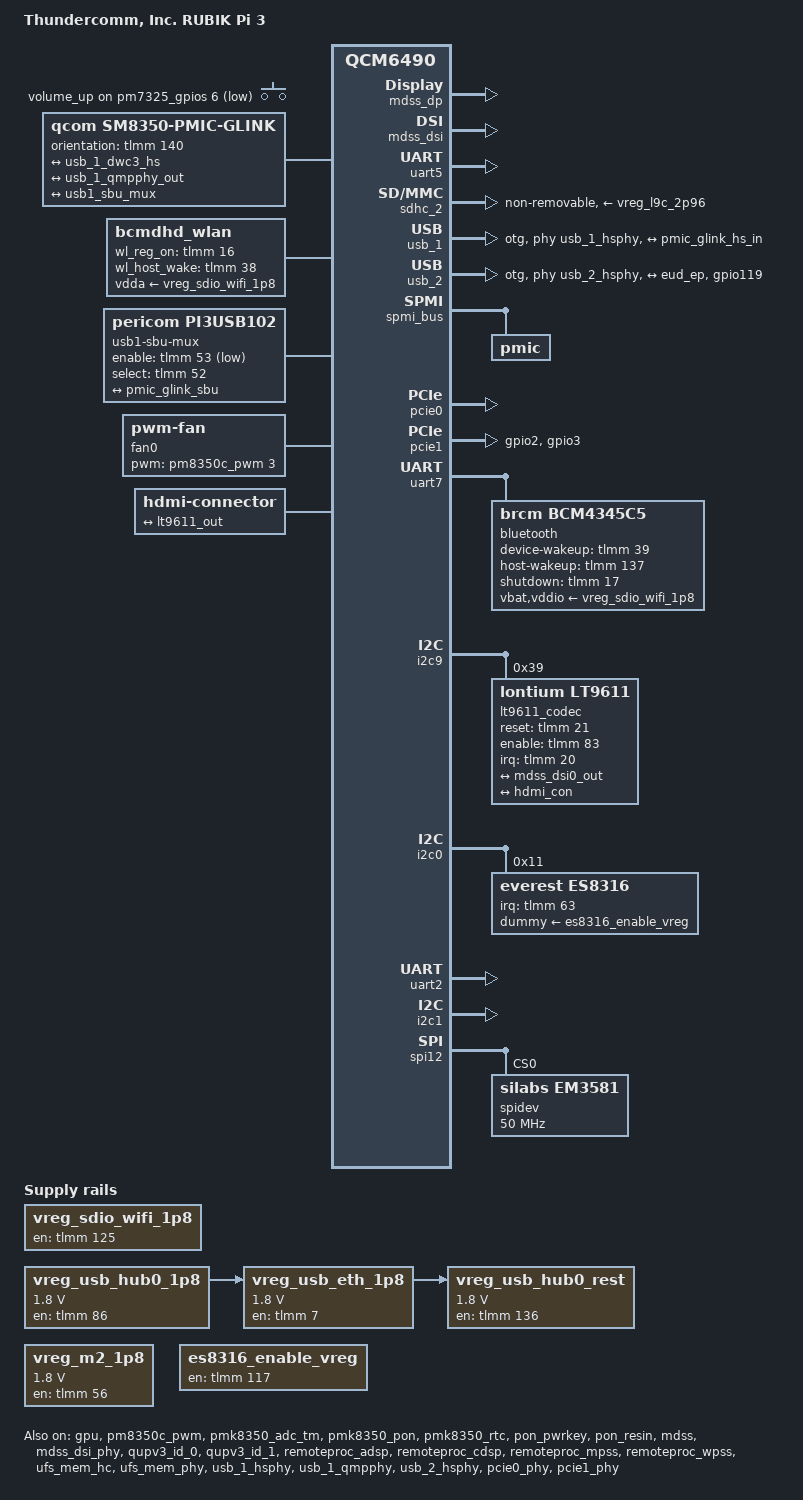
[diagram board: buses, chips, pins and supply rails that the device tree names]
// SPDX-License-Identifier: BSD-3-Clause
/*
 * Copyright (c) 2024, Thundercomm All rights reserved.
 */
#define PM7250B_SID 8
#define PM7250B_SID1 9

#include <dt-bindings/iio/qcom,spmi-adc7-pm7325.h>
#include <dt-bindings/iio/qcom,spmi-adc7-pmk8350.h>
#include <dt-bindings/input/linux-event-codes.h>
#include <dt-bindings/leds/common.h>
#include <dt-bindings/pinctrl/qcom,pmic-gpio.h>
#include <dt-bindings/regulator/qcom,rpmh-regulator.h>
#include "qcm6490.dtsi"
#include "pm7250b.dtsi"
#include "pm7325.dtsi"
#include "pm8350c.dtsi"
#include "pmk8350.dtsi"
#include "qcm6490-addons.dtsi"

/ {
	model = "Thundercomm, Inc. RUBIK Pi 3";
	compatible = "qcom,qcm6490-rb3gen2", "qcom,qcm6490";

	qcom,msm-id = <497 0x10000>, <498 0x10000>, <475 0x10000>, <515 0x10000>;
	qcom,board-id =<32 0xb>, <32 0x60b>;

	aliases {
		serial0 = &uart5;
		serial2 = &uart2;
		serial3 = &uart3;
		serial6 = &uart6;
		serial7 = &uart7;
		serial8 = &uart8;
		serial12 = &uart12;
	};

	chosen {
		stdout-path = "serial0:115200n8";
	};

	gpio-keys {
		compatible = "gpio-keys";
		label = "gpio-keys";

		pinctrl-0 = <&key_vol_up_default>;
		pinctrl-names = "default";

		key-volume-up {
			label = "volume_up";
			gpios = <&pm7325_gpios 6 GPIO_ACTIVE_LOW>;
			linux,input-type = <1>;
			linux,code = <KEY_VOLUMEUP>;
			wakeup-source;
			debounce-interval = <15>;
			linux,can-disable;
		};
	};

	pmic-glink {
		compatible = "qcom,sm8350-pmic-glink", "qcom,pmic-glink";
		#address-cells = <1>;
		#size-cells = <0>;
		orientation-gpios = <&tlmm 140 GPIO_ACTIVE_HIGH>;
		qcom,thermal-mitigation = <3000000 1500000 1000000 500000>;

		connector@0 {
			compatible = "usb-c-connector";
			reg = <0>;
			power-role = "dual";
			data-role = "dual";

			ports {
				#address-cells = <1>;
				#size-cells = <0>;

				port@0 {
					reg = <0>;

					pmic_glink_hs_in: endpoint {
						remote-endpoint = <&usb_1_dwc3_hs>;
					};
				};

				port@1 {
					reg = <1>;

					pmic_glink_ss_in: endpoint {
						remote-endpoint = <&usb_1_qmpphy_out>;
					};
				};

				port@2 {
					reg = <2>;

					pmic_glink_sbu: endpoint {
						remote-endpoint = <&usb1_sbu_mux>;
					};
				};
			};
		};
	};

	thermal-zones {
		quiet-thermal {
			polling-delay-passive = <0>;
			polling-delay = <0>;
			thermal-sensors = <&pmk8350_adc_tm 1>;

			trips {
				active-config0 {
					temperature = <125000>;
					hysteresis = <1000>;
					type = "passive";
				};
			};
		};

		sdm-skin-thermal {
			polling-delay-passive = <0>;
			polling-delay = <0>;
			thermal-sensors = <&pmk8350_adc_tm 3>;

			trips {
				active-config0 {
					temperature = <125000>;
					hysteresis = <1000>;
					type = "passive";
				};
			};
		};

		xo-thermal {
			polling-delay-passive = <0>;
			polling-delay = <0>;
			thermal-sensors = <&pmk8350_adc_tm 0>;

			trips {
				active-config0 {
					temperature = <125000>;
					hysteresis = <1000>;
					type = "passive";
				};
			};
		};
	};
};

&apps_rsc {
	regulators-0 {
		compatible = "qcom,pm7325-rpmh-regulators";
		qcom,pmic-id = "b";

		vreg_s1b_1p872: smps1 {
			regulator-min-microvolt = <1840000>;
			regulator-max-microvolt = <2040000>;
		};

		vreg_s7b_0p972: smps7 {
			regulator-min-microvolt = <535000>;
			regulator-max-microvolt = <1120000>;
		};

		vreg_s8b_1p272: smps8 {
			regulator-min-microvolt = <1200000>;
			regulator-max-microvolt = <1500000>;
		};

		vreg_l1b_0p912: ldo1 {
			regulator-min-microvolt = <912000>;
			regulator-max-microvolt = <925000>;
			regulator-initial-mode = <RPMH_REGULATOR_MODE_HPM>;
		};

		vreg_l2b_3p072: ldo2 {
			regulator-min-microvolt = <2700000>;
			regulator-max-microvolt = <3544000>;
			regulator-initial-mode = <RPMH_REGULATOR_MODE_HPM>;
		};

		vreg_l3b_0p504: ldo3 {
			regulator-min-microvolt = <312000>;
			regulator-max-microvolt = <650000>;
			regulator-initial-mode = <RPMH_REGULATOR_MODE_HPM>;
		};

		vreg_l6b_1p2: ldo6 {
			regulator-min-microvolt = <1200000>;
			regulator-max-microvolt = <1260000>;
			regulator-initial-mode = <RPMH_REGULATOR_MODE_HPM>;
		};

		vreg_l7b_2p952: ldo7 {
			regulator-min-microvolt = <2400000>;
			regulator-max-microvolt = <3544000>;
			regulator-initial-mode = <RPMH_REGULATOR_MODE_HPM>;
		};

		vreg_l8b_0p904: ldo8 {
			regulator-min-microvolt = <870000>;
			regulator-max-microvolt = <970000>;
			regulator-initial-mode = <RPMH_REGULATOR_MODE_HPM>;
		};

		vreg_l9b_1p2: ldo9 {
			regulator-min-microvolt = <1200000>;
			regulator-max-microvolt = <1304000>;
			regulator-initial-mode = <RPMH_REGULATOR_MODE_HPM>;
		};

		vreg_l11b_1p504: ldo11 {
			regulator-min-microvolt = <1776000>;
			regulator-max-microvolt = <2000000>;
			regulator-initial-mode = <RPMH_REGULATOR_MODE_HPM>;
		};

		vreg_l12b_0p751: ldo12 {
			regulator-min-microvolt = <751000>;
			regulator-max-microvolt = <824000>;
			regulator-initial-mode = <RPMH_REGULATOR_MODE_HPM>;
		};

		vreg_l13b_0p53: ldo13 {
			regulator-min-microvolt = <530000>;
			regulator-max-microvolt = <824000>;
			regulator-initial-mode = <RPMH_REGULATOR_MODE_HPM>;
		};

		vreg_l14b_1p08: ldo14 {
			regulator-min-microvolt = <1200000>;
			regulator-max-microvolt = <1304000>;
			regulator-initial-mode = <RPMH_REGULATOR_MODE_HPM>;
		};

		vreg_l15b_0p765: ldo15 {
			regulator-min-microvolt = <765000>;
			regulator-max-microvolt = <1020000>;
			regulator-initial-mode = <RPMH_REGULATOR_MODE_HPM>;
		};

		vreg_l16b_1p1: ldo16 {
			regulator-min-microvolt = <1200000>;
			regulator-max-microvolt = <1300000>;
			regulator-initial-mode = <RPMH_REGULATOR_MODE_HPM>;
		};

		vreg_l17b_1p7: ldo17 {
			regulator-min-microvolt = <1800000>;
			regulator-max-microvolt = <1900000>;
			regulator-initial-mode = <RPMH_REGULATOR_MODE_HPM>;
		};

		vreg_l18b_1p8: ldo18 {
			regulator-min-microvolt = <1800000>;
			regulator-max-microvolt = <2000000>;
			regulator-initial-mode = <RPMH_REGULATOR_MODE_HPM>;
		};

		vreg_l19b_1p8: ldo19 {
			regulator-min-microvolt = <1800000>;
			regulator-max-microvolt = <2000000>;
			regulator-initial-mode = <RPMH_REGULATOR_MODE_HPM>;
		};
	};

	regulators-1 {
		compatible = "qcom,pm8350c-rpmh-regulators";
		qcom,pmic-id = "c";

		vreg_s1c_2p19: smps1 {
			regulator-min-microvolt = <2200000>;
			regulator-max-microvolt = <2208000>;
		};

		vreg_s9c_1p084: smps9 {
			regulator-min-microvolt = <1010000>;
			regulator-max-microvolt = <1170000>;
		};

		vreg_l1c_1p8: ldo1 {
			regulator-min-microvolt = <1800000>;
			regulator-max-microvolt = <1980000>;
			regulator-initial-mode = <RPMH_REGULATOR_MODE_HPM>;
		};

		vreg_l2c_1p62: ldo2 {
			regulator-min-microvolt = <1620000>;
			regulator-max-microvolt = <1980000>;
			regulator-initial-mode = <RPMH_REGULATOR_MODE_HPM>;
		};

		vreg_l3c_2p8: ldo3 {
			regulator-min-microvolt = <2800000>;
			regulator-max-microvolt = <3540000>;
			regulator-initial-mode = <RPMH_REGULATOR_MODE_HPM>;
		};

		vreg_l4c_1p62: ldo4 {
			regulator-min-microvolt = <1620000>;
			regulator-max-microvolt = <3300000>;
			regulator-initial-mode = <RPMH_REGULATOR_MODE_HPM>;
		};

		vreg_l5c_1p62: ldo5 {
			regulator-min-microvolt = <1620000>;
			regulator-max-microvolt = <3300000>;
			regulator-initial-mode = <RPMH_REGULATOR_MODE_HPM>;
		};

		vreg_l6c_2p96: ldo6 {
			regulator-min-microvolt = <1800000>;
			regulator-max-microvolt = <1800000>;
			regulator-initial-mode = <RPMH_REGULATOR_MODE_HPM>;
		};

		vreg_l7c_3p0: ldo7 {
			regulator-min-microvolt = <3000000>;
			regulator-max-microvolt = <3544000>;
			regulator-initial-mode = <RPMH_REGULATOR_MODE_HPM>;
		};

		vreg_l8c_1p62: ldo8 {
			regulator-min-microvolt = <1800000>;
			regulator-max-microvolt = <2000000>;
			regulator-initial-mode = <RPMH_REGULATOR_MODE_HPM>;
		};

		vreg_l9c_2p96: ldo9 {
			regulator-min-microvolt = <2700000>;
			regulator-max-microvolt = <3544000>;
			regulator-initial-mode = <RPMH_REGULATOR_MODE_HPM>;
		};

		vreg_l10c_0p88: ldo10 {
			regulator-min-microvolt = <880000>;
			regulator-max-microvolt = <1050000>;
			regulator-initial-mode = <RPMH_REGULATOR_MODE_HPM>;
		};

		vreg_l11c_2p8: ldo11 {
			regulator-min-microvolt = <2800000>;
			regulator-max-microvolt = <3544000>;
			regulator-initial-mode = <RPMH_REGULATOR_MODE_HPM>;
		};

		vreg_l12c_1p65: ldo12 {
			regulator-min-microvolt = <1800000>;
			regulator-max-microvolt = <2000000>;
			regulator-initial-mode = <RPMH_REGULATOR_MODE_HPM>;
		};

		vreg_l13c_2p7: ldo13 {
			regulator-min-microvolt = <2700000>;
			regulator-max-microvolt = <3544000>;
			regulator-initial-mode = <RPMH_REGULATOR_MODE_HPM>;
		};

		vreg_bob_3p296: bob {
			regulator-min-microvolt = <3008000>;
			regulator-max-microvolt = <3960000>;
		};
	};
};

&gcc {
	protected-clocks = <GCC_QSPI_CNOC_PERIPH_AHB_CLK>, <GCC_QSPI_CORE_CLK>,
			<GCC_QSPI_CORE_CLK_SRC>, <GCC_CFG_NOC_LPASS_CLK>,
			<GCC_MSS_GPLL0_MAIN_DIV_CLK_SRC>, <GCC_MSS_CFG_AHB_CLK>,
			<GCC_MSS_OFFLINE_AXI_CLK>, <GCC_MSS_SNOC_AXI_CLK>,
			<GCC_MSS_Q6_MEMNOC_AXI_CLK>, <GCC_MSS_Q6SS_BOOT_CLK_SRC>,
			<GCC_SEC_CTRL_CLK_SRC>, <GCC_WPSS_AHB_CLK>,
			<GCC_WPSS_AHB_BDG_MST_CLK>, <GCC_WPSS_RSCP_CLK>;
};

&gpu {
	status = "okay";
};

&gpu_zap_shader {
	firmware-name = "qcom/qcs6490/a660_zap.mbn";
};

&ipa {
	status = "disabled";
};

&lpasscc {
	status = "disabled";
};

&pm7325_gpios {
	key_vol_up_default: key-vol-up-state {
		pins = "gpio6";
		function = "normal";
		input-enable;
		bias-pull-up;
		power-source = <0>;
		qcom,drive-strength = <3>;
	};
};

&pm7325_temp_alarm {
	io-channels = <&pmk8350_vadc PM7325_ADC7_DIE_TEMP>;
	io-channel-names = "thermal";
};

&pm8350c_pwm {
	#address-cells = <1>;
	#size-cells = <0>;
	status = "okay";

	led@1 {
		reg = <1>;
		color = <LED_COLOR_ID_RED>;
		label = "red";
	};

	led@2 {
		reg = <2>;
		color = <LED_COLOR_ID_GREEN>;
		label = "green";
	};

	led@3 {
		reg = <3>;
		color = <LED_COLOR_ID_BLUE>;
		label = "blue";
	};
};

&pmk8350_adc_tm {
	status = "okay";

	xo-therm@0 {
		reg = <0>;
		io-channels = <&pmk8350_vadc PMK8350_ADC7_AMUX_THM1_100K_PU>;
		qcom,ratiometric;
		qcom,hw-settle-time-us = <200>;
	};

	quiet-therm@1 {
		reg = <1>;
		io-channels = <&pmk8350_vadc PM7325_ADC7_AMUX_THM1_100K_PU>;
		qcom,ratiometric;
		qcom,hw-settle-time-us = <200>;
	};

	sdm-skin-therm@3 {
		reg = <3>;
		io-channels = <&pmk8350_vadc PM7325_ADC7_AMUX_THM3_100K_PU>;
		qcom,ratiometric;
		qcom,hw-settle-time-us = <200>;
	};
};

&pmk8350_pon {
	status = "okay";
};

&pmk8350_rtc {
	status = "okay";
	allow-set-time;
};

&pmk8350_vadc {
	channel@44 {
		reg = <PMK8350_ADC7_AMUX_THM1_100K_PU>;
		label = "xo_therm";
		qcom,hw-settle-time = <200>;
		qcom,pre-scaling = <1 1>;
		qcom,ratiometric;
	};

	channel@103 {
		reg = <PM7325_ADC7_DIE_TEMP>;
		label = "pm7325_die_temp";
		qcom,pre-scaling = <1 1>;
	};

	channel@144 {
		reg = <PM7325_ADC7_AMUX_THM1_100K_PU>;
		qcom,ratiometric;
		qcom,hw-settle-time = <200>;
		qcom,pre-scaling = <1 1>;
		label = "pm7325_quiet_therm";
	};

	channel@146 {
		reg = <PM7325_ADC7_AMUX_THM3_100K_PU>;
		qcom,ratiometric;
		qcom,hw-settle-time = <200>;
		qcom,pre-scaling = <1 1>;
		label = "pm7325_sdm_skin_therm";
	};

	pmk8350-die-temp@3 {
		reg = <PMK8350_ADC7_DIE_TEMP>;
		label = "pmk8350_die_temp";
		qcom,pre-scaling = <1 1>;
	};
};

&pon_pwrkey {
	status = "okay";
};

&pon_resin {
	linux,code = <KEY_VOLUMEDOWN>;
	status = "okay";
};

&mdss {
	status = "okay";
};

&mdss_dp {
	status = "okay";
};

&mdss_dp_out {
	data-lanes = <0 1>;
	remote-endpoint = <&usb_1_qmpphy_dp_in>;
};

&mdss_dsi {
	vdda-supply = <&vreg_l6b_1p2>;
	status = "okay";
};

&mdss_dsi_phy {
	vdds-supply = <&vreg_l10c_0p88>;
	status = "okay";
};

&qup_uart5_rx {
	drive-strength = <2>;
	bias-pull-up;
};

&qup_uart5_tx {
	drive-strength = <2>;
	bias-disable;
};

&gpi_dma0 {
	status = "okay";
};

&gpi_dma1 {
	status = "okay";
};

&qupv3_id_0 {
	firmware-name = "qupv3fw.elf";
	status = "okay";
};

&qupv3_id_1 {
	firmware-name = "qupv3fw.elf";
	status = "okay";
};

&remoteproc_adsp {
	firmware-name = "qcom/qcs6490/Thundercomm/RubikPi3/adsp.mbn";
	status = "okay";
};

&remoteproc_cdsp {
	firmware-name = "qcom/qcs6490/cdsp.mbn";
	status = "okay";
};

&remoteproc_mpss {
	firmware-name = "qcom/qcs6490/modem.mbn";
	status = "okay";
};

&remoteproc_wpss {
	firmware-name = "qcom/qcs6490/wpss.mdt";
	status = "okay";
};

&uart5 {
	compatible = "qcom,geni-debug-uart";
	status = "okay";
};

&ufs_mem_hc {
	reset-gpios = <&tlmm 175 GPIO_ACTIVE_LOW>;
	vcc-supply = <&vreg_l7b_2p952>;
	vcc-max-microamp = <800000>;
	vccq-supply = <&vreg_l9b_1p2>;
	vccq-max-microamp = <900000>;
	vccq2-supply = <&vreg_l9b_1p2>;
	vccq2-max-microamp = <900000>;

	status = "okay";
};

&ufs_mem_phy {
	vdda-phy-supply = <&vreg_l10c_0p88>;
	vdda-pll-supply = <&vreg_l6b_1p2>;

	status = "okay";
};

&tlmm {
	wifi_reset_active: wifi_reset_active {
		pins = "gpio16";
		function = "gpio";
		drive-strength = <2>;
		output-high;
		bias-disable;
	};

	wifi_host_wake: wifi_host_wake {
		pins = "gpio38";
		function = "gpio";
		drive-strength = <2>;
		bias-disable;
	};

	wifi_power_on: wifi_power_on {
		pins = "gpio125";
		function = "gpio";
		drive-strength = <2>;
		bias-disable;
	};
};

/ {
	vreg_sdio_wifi_1p8: vreg_sdio_wifi_1p8 {
		compatible = "regulator-fixed";
		pinctrl-0 = <&wifi_reset_active>, <&wifi_host_wake>, <&wifi_power_on>;
		pinctrl-names = "default";
		regulator-name = "vreg_sdio_wifi_1p8";
		enable-active-high;
		gpio = <&tlmm 125 GPIO_ACTIVE_HIGH>;
		regulator-always-on;
		regulator-enable-ramp-delay = <50000>;
	};

	bcmdhd_wlan: bcmdhd_wlan {
		status = "okay";
		compatible = "linux,bcmdhd_wlan";
		gpio_wl_reg_on = <&tlmm 16 GPIO_ACTIVE_HIGH>;
		gpio_wl_host_wake = <&tlmm 38 GPIO_ACTIVE_HIGH>;
		vdda-supply = <&vreg_sdio_wifi_1p8>;
	};
};

&sdhc_2 {
	status = "okay";

	pinctrl-0 = <&sdc2_clk>, <&sdc2_cmd>, <&sdc2_data>;
	pinctrl-1 = <&sdc2_clk_sleep>, <&sdc2_cmd_sleep>, <&sdc2_data_sleep>;

	vmmc-supply = <&vreg_l9c_2p96>;
	vqmmc-supply = <&vreg_l6c_2p96>;

	non-removable;
	keep-power-in-suspend;

	/delete-property/ cd-gpios;
};

/delete-node/ &usb_1_dwc3;

&usb_1 {

	reg = <0x0 0x0a600000 0x0 0x200000>;

	interrupts-extended = <&intc GIC_SPI 133 IRQ_TYPE_LEVEL_HIGH>,
			      <&intc GIC_SPI 131 IRQ_TYPE_LEVEL_HIGH>,
			      <&pdc 14 IRQ_TYPE_LEVEL_HIGH>,
			      <&pdc 15 IRQ_TYPE_EDGE_BOTH>,
			      <&pdc 17 IRQ_TYPE_EDGE_BOTH>;
	interrupt-names = "dwc_usb3",
			  "hs_phy_irq",
			  "dp_hs_phy_irq",
			  "dm_hs_phy_irq",
			  "ss_phy_irq";

	iommus = <&apps_smmu 0xe0 0x0>;
	snps,dis_u2_susphy_quirk;
	snps,dis_enblslpm_quirk;
	phys = <&usb_1_hsphy>, <&usb_1_qmpphy QMP_USB43DP_USB3_PHY>;
	phy-names = "usb2-phy", "usb3-phy";
	maximum-speed = "super-speed";
	snps,dis-u2-entry-quirk;
	snps,dis-u1-entry-quirk;
	dr_mode = "otg";
	usb-role-switch;
	qcom,enable-rt;
	wakeup-source;

	status = "okay";

	ports {
		#address-cells = <1>;
		#size-cells = <0>;

		port@0 {
			reg = <0>;
			usb_1_dwc3_hs: endpoint {
			};
		};
	};
};

&usb_1_dwc3_hs {
	remote-endpoint = <&pmic_glink_hs_in>;
};

&usb_1_hsphy {
	vdda-pll-supply = <&vreg_l10c_0p88>;
	vdda18-supply = <&vreg_l1c_1p8>;
	vdda33-supply = <&vreg_l2b_3p072>;

	status = "okay";
};

&usb_1_qmpphy {
	vdda-phy-supply = <&vreg_l6b_1p2>;
	vdda-pll-supply = <&vreg_l1b_0p912>;

	orientation-switch;
	status = "okay";
};

&usb_1_qmpphy_out {
	remote-endpoint = <&pmic_glink_ss_in>;
};

&usb_1_qmpphy_dp_in {
	remote-endpoint = <&mdss_dp_out>;
};

&tlmm {
	usb1_sbu_default: usb1-sbu-state {
		oe-n-pins {
			pins = "gpio53";
			function = "gpio";
			bias-disable;
			drive-strength = <16>;
			output-high;
		};
		sel-pins {
			pins = "gpio52";
			function = "gpio";
			bias-disable;
			drive-strength = <16>;
		};
	};
};

/ {
	usb1-sbu-mux {
		compatible = "pericom,pi3usb102", "gpio-sbu-mux";
		enable-gpios = <&tlmm 53 GPIO_ACTIVE_LOW>;
		select-gpios = <&tlmm 52 GPIO_ACTIVE_HIGH>;
		pinctrl-names = "default";
		pinctrl-0 = <&usb1_sbu_default>;
		mode-switch;
		orientation-switch;
		port {
			usb1_sbu_mux: endpoint {
				remote-endpoint = <&pmic_glink_sbu>;
			};
		};
	};
};

&vreg_l7b_2p952 {
	/delete-property/regulator-min-microvolt;
	/delete-property/regulator-max-microvolt;
	regulator-allow-set-load;
	regulator-allowed-modes = <RPMH_REGULATOR_MODE_LPM RPMH_REGULATOR_MODE_HPM>;
};

&vreg_l9b_1p2 {
	/delete-property/regulator-min-microvolt;
	/delete-property/regulator-max-microvolt;
	regulator-allow-set-load;
	regulator-allowed-modes = <RPMH_REGULATOR_MODE_LPM RPMH_REGULATOR_MODE_HPM>;
};

/*     USB2 Related Start        */
/*==============================*/

&pm7325_gpios {
	usb2_vbus_det_default: usb2_vbus_det_state {
		pins = "gpio9";
		function = "normal";
		bias-pull-down;
		input-enable;
		power-source = <0>;
	};
};

&sdc2_clk {
	bias-disable;
	drive-strength = <16>;
};

&sdc2_cmd {
	bias-pull-up;
	drive-strength = <10>;
};

&sdc2_data {
	bias-pull-up;
	drive-strength = <10>;
};

&tlmm {
	usb2_1p8_vreg_default: usb2_1p8_vreg_default {
		pins = "gpio119";
		function = "gpio";
		drive-strength = <2>;
		bias-disable;
		output-high;
	};
};

/delete-node/ &usb_2_dwc3;

&usb_2 {
	pinctrl-0 = <&usb2_1p8_vreg_default>;
	pinctrl-names = "default";

	reg = <0x0 0x08c00000 0x0 0x100000>;

	interrupts-extended = <&intc GIC_SPI 242 IRQ_TYPE_LEVEL_HIGH>,
				<&intc GIC_SPI 240 IRQ_TYPE_LEVEL_HIGH>,
				<&pdc 12 IRQ_TYPE_LEVEL_HIGH>,
				<&pdc 13 IRQ_TYPE_EDGE_BOTH>;
	interrupt-names = "dwc_usb2",
			"hs_phy_irq",
			"dp_hs_phy_irq",
			"dm_hs_phy_irq";

	iommus = <&apps_smmu 0xa0 0x0>;
	snps,dis_u2_susphy_quirk;
	snps,dis_enblslpm_quirk;
	phys = <&usb_2_hsphy>;
	phy-names = "usb2-phy";
	maximum-speed = "high-speed";
	snps,dis-u2-entry-quirk;
	snps,dis-u1-entry-quirk;

	usb-role-switch;
	qcom,enable-rt;
	wakeup-source;
	dr_mode = "otg";
	role-switch-default-mode = "host";

	status = "okay";

	ports {
		#address-cells = <1>;
		#size-cells = <0>;

		port@0 {
			usb2_role_switch: endpoint {
				remote-endpoint = <&eud_ep>;
			};
		};
	};
};

&usb_2_hsphy {
	vdda-pll-supply = <&vreg_l10c_0p88>;
	vdda18-supply = <&vreg_l1c_1p8>;
	vdda33-supply = <&vreg_l2b_3p072>;

	status = "okay";
};

&spmi_bus {
	pmic@PM7250B_SID {
		pm7250b_bcl: bcl@1d00 {
			compatible = "qcom,bcl-v5";
			reg = <0x1d00>;
			interrupts = <PM7250B_SID 0x1d 0x0 IRQ_TYPE_EDGE_RISING>,
					<PM7250B_SID 0x1d 0x1 IRQ_TYPE_EDGE_RISING>,
					<PM7250B_SID 0x1d 0x2 IRQ_TYPE_EDGE_RISING>;
			interrupt-names = "bcl-lvl0",
						"bcl-lvl1",
						"bcl-lvl2";
			#thermal-sensor-cells = <1>;
		};
	};
};

&thermal_zones {
	pm7250b-ibat-lvl0 {
		polling-delay-passive = <0>;
		polling-delay = <0>;
		thermal-sensors = <&pm7250b_bcl 0>;

		trips {
			ibat_lvl0:ibat-lvl0 {
				temperature = <6000>;
				hysteresis = <200>;
				type = "passive";
			};
		};
	};

	pm7250b-ibat-lvl1 {
		polling-delay-passive = <0>;
		polling-delay = <0>;
		thermal-sensors = <&pm7250b_bcl 1>;

		trips {
			ibat_lvl1:ibat-lvl1 {
				temperature = <7500>;
				hysteresis = <200>;
				type = "passive";
			};
		};
	};

	pm7250b-bcl-lvl0 {
		polling-delay-passive = <100>;
		polling-delay = <0>;
		thermal-sensors = <&pm7250b_bcl 5>;

		trips {
			b_bcl_lvl0: b-bcl-lvl0 {
				temperature = <1>;
				hysteresis = <1>;
				type = "passive";
			};
		};

		cooling-maps {
			map0 {
				trip = <&b_bcl_lvl0>;
				cooling-device = <&CPU4_idle 100 100>;
			};

			map1 {
				trip = <&b_bcl_lvl0>;
				cooling-device = <&CPU5_idle 100 100>;
			};

			map2 {
				trip = <&b_bcl_lvl0>;
				cooling-device = <&CPU6_idle 100 100>;
			};

			map3 {
				trip = <&b_bcl_lvl0>;
				cooling-device = <&CPU7_idle 100 100>;
			};

			map4 {
				trip = <&b_bcl_lvl0>;
				cooling-device = <&cdsp_sw 2 2>;
			};

			map5 {
				trip = <&b_bcl_lvl0>;
				cooling-device = <&modem_pa 2 2>;
			};

			map6 {
				trip = <&b_bcl_lvl0>;
				cooling-device = <&modem_tj 1 1>;
			};
		};
	};

	pm7250b-bcl-lvl1 {
		polling-delay-passive = <100>;
		polling-delay = <0>;
		thermal-sensors = <&pm7250b_bcl 6>;

		trips {
			b_bcl_lvl1: b-bcl-lvl1 {
				temperature = <1>;
				hysteresis = <1>;
				type = "passive";
			};
		};

		cooling-maps {
			map0 {
				trip = <&b_bcl_lvl1>;
				cooling-device = <&msm_gpu 5 THERMAL_NO_LIMIT>;
			};

			map1 {
				trip = <&b_bcl_lvl1>;
				cooling-device = <&cdsp_sw 4 4>;
			};

			map2 {
				trip = <&b_bcl_lvl1>;
				cooling-device = <&modem_tj 3 3>;
			};
		};
	};

	pm7250b-bcl-lvl2 {
		polling-delay-passive = <100>;
		polling-delay = <0>;
		thermal-sensors = <&pm7250b_bcl 7>;

		trips {
			b_bcl_lvl2: b-bcl-lvl2 {
				temperature = <1>;
				hysteresis = <1>;
				type = "passive";
			};
		};

		cooling-maps {
			map0 {
				trip = <&b_bcl_lvl2>;
				cooling-device = <&cdsp_sw 5 5>;
			};
		};
	};
};

/ {
	vreg_usb_hub0_1p8: vreg_usb_hub0_1p8 {
		compatible = "regulator-fixed";
		regulator-name = "vreg_usb_hub0_1p8";
		gpio = <&tlmm 86 0>;
		regulator-min-microvolt = <1800000>;
		regulator-max-microvolt = <1800000>;
		enable-active-high;
		regulator-always-on;
		regulator-enable-ramp-delay = <50000>;
	};

	vreg_usb_eth_1p8: vreg_usb_eth_1p8 {
		compatible = "regulator-fixed";
		regulator-name = "vreg_usb_eth_1p8";
		gpio = <&tlmm 7 0>;
		vin-supply = <&vreg_usb_hub0_1p8>;
		regulator-min-microvolt = <1800000>;
		regulator-max-microvolt = <1800000>;
		enable-active-high;
		regulator-enable-ramp-delay = <50000>;
	};

	vreg_usb_hub0_rest: vreg_usb_hub0_rest {
		compatible = "regulator-fixed";
		regulator-name = "vreg_usb_hub0_rest";
		gpio = <&tlmm 136 0>;
		vin-supply = <&vreg_usb_eth_1p8>;
		regulator-min-microvolt = <1800000>;
		regulator-max-microvolt = <1800000>;
		enable-active-high;
		regulator-always-on;
		regulator-enable-ramp-delay = <50000>;
	};
};

&pcie0 {
	perst-gpios = <&tlmm 87 GPIO_ACTIVE_LOW>;
	pinctrl-0 = <&pcie0_reset_n>, <&pcie0_wake_n>, <&pcie0_clkreq_n>;
	pinctrl-names = "default";
	status = "okay";
	vdda-supply = <&vreg_usb_hub0_rest>;
};

&pcie0_phy {
	status = "okay";
	vdda-phy-supply = <&vreg_l10c_0p88>;
	vdda-pll-supply = <&vreg_l6b_1p2>;
};

&tlmm {
	pcie1_reset_n: pcie1-reset-n-state {
		pins = "gpio2";
		function = "gpio";
		drive-strength = <16>;
		output-low;
		bias-disable;
	};

	pcie1_wake_n: pcie1-wake-n-state {
		pins = "gpio3";
		function = "gpio";
		drive-strength = <2>;
		bias-pull-up;
	};
};

/ {
	vreg_m2_1p8: verg_m2_1p8 {
		compatible = "regulator-fixed";

		regulator-name = "vreg_m2_1p8";
		regulator-min-microvolt = <1800000>;
		regulator-max-microvolt = <1800000>;
		regulator-enable-ramp-delay = <50000>;

		gpio = <&tlmm 56 0>;
		enable-active-high;

		regulator-always-on;
		regulator-boot-on;
	};
};

&pcie1 {
	perst-gpios = <&tlmm 2 GPIO_ACTIVE_LOW>;

	pinctrl-0 = <&pcie1_reset_n>, <&pcie1_wake_n>, <&pcie1_clkreq_n>;
	pinctrl-names = "default";

	status = "okay";

	pcieport1: pcie@1 {
		device_type = "pci";
		reg = <0x0 0x0 0x0 0x0 0x0>;
		#address-cells = <5>;
		#size-cells = <0>;
		pcie1_bus1_dev0_fn0: pcie1_bus1_dev0_fn0 {
			reg = <0 0 0 0 0>;
		};
	};
};

&pcie1_phy {
	vdda-phy-supply = <&vreg_l10c_0p88>;
	vdda-pll-supply = <&vreg_l6b_1p2>;

	status = "okay";
};

&thermal_zones {
	cpu0-thermal {
		trips {
			cpu_tepid: cpu-tepid {
				temperature = <65000>;
				hysteresis = <5000>;
				type = "active";
			};

			cpu_warm: cpu-warm {
				temperature = <80000>;
				hysteresis = <5000>;
				type = "active";
			};

			cpu_hot: cpu-hot {
				temperature = <90000>;
				hysteresis = <5000>;
				type = "active";
			};
		};
	};

	gpuss0-thermal {
		trips {
			gpuss0_alert0: trip-point0 {
				temperature = <95000>;
				hysteresis = <5000>;
				type = "passive";
			};
		};
	};

	gpuss1-thermal {
		trips {
			gpuss1_alert0: trip-point0 {
				temperature = <95000>;
				hysteresis = <5000>;
				type = "passive";
			};
		};
	};

	nspss0-thermal {
		trips {
			nspss0_alert0: trip-point0 {
				temperature = <95000>;
				hysteresis = <5000>;
				type = "hot";
			};
		};
	};

	nspss1-thermal {
		trips {
			nspss1_alert0: trip-point0 {
				temperature = <95000>;
				hysteresis = <5000>;
				type = "hot";
			};
		};
	};
};

/ {
	fan0: pwm-fan {
		compatible = "pwm-fan";
		pwms = <&pm8350c_pwm 3 1000000>;
		pinctrl-names = "default";
		pinctrl-0 = <&fan_pwm_out_default>;
	};
};

&pm8350c_gpios {
	fan_pwm_out_default: fan_pwm_out_default {
		pins = "gpio8";
		function = "func1";
		power-source = <1>;
		drive-push-pull;
		output-high;
		qcom,drive-strength = <3>;
	};
};

&tlmm {
	qup_uart7_sleep_cts: qup-uart7-sleep-cts-state {
		pins = "gpio28";
		function = "gpio";
		/*
		 * Configure a bias-bus-hold on CTS to lower power
		 * usage when Bluetooth is turned off. Bus hold will
		 * maintain a low power state regardless of whether
		 * the Bluetooth module drives the pin in either
		 * direction or leaves the pin fully unpowered.
		 */
		bias-bus-hold;
	};

	qup_uart7_sleep_rts: qup-uart7-sleep-rts-state {
		pins = "gpio29";
		function = "gpio";
		/*
		 * Configure pull-down on RTS. As RTS is active low
		 * signal, pull it low to indicate the BT SoC that it
		 * can wakeup the system anytime from suspend state by
		 * pulling RX low (by sending wakeup bytes).
		 */
		bias-pull-down;
	};

	qup_uart7_sleep_rx: qup-uart7-sleep-rx-state {
		pins = "gpio31";
		function = "gpio";
		/*
		 * Configure a pull-up on RX. This is needed to avoid
		 * garbage data when the TX pin of the Bluetooth module
		 * is floating which may cause spurious wakeups.
		 */
		bias-pull-up;
	};

	qup_uart7_sleep_tx: qup-uart7-sleep-tx-state {
		pins = "gpio30";
		function = "gpio";
		/*
		 * Configure pull-up on TX when it isn't actively driven
		 * to prevent BT SoC from receiving garbage during sleep.
		 */
		bias-pull-up;
	};
};

&tlmm {
	bt_device_wake: bt_device_wake {
		pins = "gpio39";
		function = "gpio";
		drive-strength = <2>;
		bias-disable;
	};

	bt_host_wake: bt_host_wake {
		pins = "gpio137";
		function = "gpio";
		drive-strength = <2>;
		bias-disable;
	};

	bt_reset: bt_reset {
		pins = "gpio17";
		function = "gpio";
		drive-strength = <2>;
		bias-disable;
	};
};

&uart7 {
	status = "okay";
	/delete-property/interrupts;
	interrupts-extended = <&intc GIC_SPI 608 IRQ_TYPE_LEVEL_HIGH>,
				<&tlmm 31 IRQ_TYPE_EDGE_FALLING>;
	pinctrl-names = "default", "sleep";
	pinctrl-1 = <&qup_uart7_sleep_cts>, <&qup_uart7_sleep_rts>,
			<&qup_uart7_sleep_tx>, <&qup_uart7_sleep_rx>;

	bluetooth {
		compatible = "brcm,bcm4345c5";
		clocks = <&sleep_clk>;
		clock-names = "lpo";
		device-wakeup-gpios = <&tlmm 39 GPIO_ACTIVE_HIGH>;
		host-wakeup-gpios = <&tlmm 137 GPIO_ACTIVE_HIGH>;
		shutdown-gpios = <&tlmm 17 GPIO_ACTIVE_HIGH>;
		pinctrl-0 = <&bt_device_wake>, <&bt_host_wake>, <&bt_reset>;
		pinctrl-names = "default";
		vbat-supply = <&vreg_sdio_wifi_1p8>;
		vddio-supply = <&vreg_sdio_wifi_1p8>;
		max-speed = <3000000>;
	};
};

/ {
	hdmi-connector {
		compatible = "hdmi-connector";
		type = "a";
		port {
			hdmi_con: endpoint {
				remote-endpoint = <&lt9611_out>;
			};
		};
	};
};

&apps_rsc {
	regulators-0 {
		vreg_l6b_1p2: ldo6 {
			regulator-min-microvolt = <1140000>;
			regulator-max-microvolt = <1260000>;
			regulator-initial-mode = <RPMH_REGULATOR_MODE_HPM>;
		};
	};
	regulators-1 {
		vreg_l10c_0p88: ldo10 {
			regulator-min-microvolt = <880000>;
			regulator-max-microvolt = <1050000>;
			regulator-initial-mode = <RPMH_REGULATOR_MODE_HPM>;
		};
	};
};

&tlmm {
	lt9611_irq_pin: lt9611-irq-state {
		pins = "gpio20";
		function = "gpio";
		drive-strength = <2>;
		bias-disable;
	};

	lt9611_rst_pin: lt9611-rst-state {
		pins = "gpio21";
		function = "gpio";
		output-high;
		input-disable;
	};

	lt9611_enable_pin: lt9611-enable-pin {
		pins = "gpio83";
		function = "gpio";
		output-high;
		input-disable;
	};
};

&i2c9 {
	status = "okay";
	lt9611_codec: hdmi-bridge@39 {
		compatible = "lontium,lt9611";
		reg = <0x39>;
		interrupts-extended = <&tlmm 20 IRQ_TYPE_EDGE_FALLING>;
		reset-gpios = <&tlmm 21 GPIO_ACTIVE_HIGH>;
		enable-gpios = <&tlmm 83 GPIO_ACTIVE_HIGH>;

		pinctrl-names = "default";
		pinctrl-0 = <&lt9611_irq_pin &lt9611_rst_pin &lt9611_enable_pin>;
		#sound-dai-cells = <0>;

		mipi-digi-regs = <
			0x8300 0x00
			0x830a 0x00
			0x824f 0x80
			0x8250 0x14
			0x8303 0x40
			0x8302 0x0a
			0x8306 0x0a
		>;

		sleep-regs = <
			0x8102 0x48
			0x8123 0x80
			0x8130 0x00
			0x8011 0x0a
		>;

		lt,cts_n_normal;
		lt,fixed-mode;
		ports {
			#address-cells = <1>;
			#size-cells = <0>;
			port@0 {
				reg = <0>;
				lt9611_a: endpoint {
					remote-endpoint = <&mdss_dsi0_out>;
				};
			};
			port@2 {
				reg = <2>;
				lt9611_out: endpoint {
					remote-endpoint = <&hdmi_con>;
				};
			};
		};
	};
};

&mdss_dsi0_out {
	remote-endpoint = <&lt9611_a>;
	data-lanes = <0 1 2 3>;
};

&q6apmbedai {
	qcom,prmcc_clk = <&q6prmcc>;
};

&lpass_va_macro {
	status = "disabled";
};

&lpass_rx_macro {
	status = "disabled";
};

&lpass_tx_macro {
	status = "disabled";
};

&lpass_wsa_macro {
	status = "disabled";
};

&swr0 {
	status = "disabled";
};

&swr1 {
	status = "disabled";
};

&swr2 {
	status = "disabled";
};

&tlmm {
	mi2s0_data0_sleep: mi2s0-data0-sleep {
		pins = "gpio98";
		function = "gpio";
		drive-strength = <2>;
		bias-pull-down;
		input-enable;
	};

	mi2s0_data1_sleep: mi2s0-data1-sleep {
		pins = "gpio99";
		function = "gpio";
		drive-strength = <2>;
		bias-pull-down;
		input-enable;
	};

	mi2s0_sclk_sleep: mi2s0-sclk-sleep {
		pins = "gpio97";
		function = "gpio";
		drive-strength = <2>;
		bias-pull-down;
		input-enable;
	};

	mi2s0_ws_sleep: mi2s0-ws-sleep {
		pins = "gpio100";
		function = "gpio";
		drive-strength = <2>;
		bias-pull-down;
		input-enable;
	};

	mi2s0_mclk_sleep: mi2s0-mclk-sleep-state {
		pins = "gpio96";
		function = "gpio";
		drive-strength = <2>;
		bias-pull-down;
		input-enable;
	};

	es8316_power_on: es8316_power_on {
		pins = "gpio117";
		function = "gpio";
		drive-strength = <2>;
		bias-pull-down;
	};
};

&mi2s0_data0 {
	drive-strength = <8>;
	bias-disable;
};

&mi2s0_data1 {
	drive-strength = <8>;
	bias-disable;
};

&mi2s0_sclk {
	drive-strength = <8>;
	bias-disable;
	output-high;
};

&mi2s0_ws {
	drive-strength = <8>;
	bias-disable;
	output-high;
};

&mi2s0_mclk {
	drive-strength = <8>;
	bias-disable;
	output-high;
};

&soc {
	es8316_enable_vreg: es8316_enable_vreg {
		compatible = "regulator-fixed";
		regulator-name = "es8316_enable_vreg";
		pinctrl-names = "default";
		pinctrl-0 = <&es8316_power_on>;
		gpio = <&tlmm 117 GPIO_ACTIVE_HIGH>;
		enable-active-high;
		regulator-always-on;
	};
};

&i2c0 {
	status = "ok";
	es8316: es8316@11 {
		compatible = "everest,es8316";
		reg = <0x11>;
		clocks = <&q6prmcc LPASS_CLK_ID_MCLK_1 LPASS_CLK_ATTRIBUTE_COUPLE_NO>;
		clock-names = "mclk";
		#sound-dai-cells = <0>;
		dummy-supply = <&es8316_enable_vreg>;
		interrupts-extended = <&tlmm 63 IRQ_TYPE_EDGE_BOTH>;
		everest,jack-detect-inverted = <1>;
		init-regs;
		status = "ok";
	};
};

&lpass_tlmm {
	lpass_qua_mi2s_sclk: qua-mi2s-sclk-state {
		pins = "gpio0";
		function = "qua_mi2s_sclk";
		drive-strength = <8>;
		bias-disable;
		output-high;
	};

	lpass_qua_mi2s_sclk_sleep: qua-mi2s-sclk-sleep {
		pins = "gpio0";
		function = "qua_mi2s_sclk";
		drive-strength = <2>;
		bias-pull-down;
		input-enable;
	};

	lpass_qua_mi2s_ws: qua-mi2s-ws-state {
		pins = "gpio1";
		function = "qua_mi2s_ws";
		drive-strength = <8>;
		output-high;
	};

	lpass_qua_mi2s_ws_sleep: qua-mi2s-ws-sleep {
		pins = "gpio1";
		function = "qua_mi2s_ws";
		drive-strength = <2>;
		bias-pull-down;
		input-enable;
	};

	lpass_qua_mi2s_data0: qua-mi2s-data0-state {
		pins = "gpio2";
		function = "qua_mi2s_data";
		drive-strength = <8>;
		bias-disable;
	};

	lpass_qua_mi2s_data0_sleep: qua-mi2s-data0-sleep {
		pins = "gpio2";
		function = "qua_mi2s_data";
		drive-strength = <2>;
		bias-pull-down;
		input-enable;
	};

	lpass_qua_mi2s_data1: qua-mi2s-data1-state {
		pins = "gpio3";
		function = "qua_mi2s_data";
		drive-strength = <8>;
		bias-disable;
	};

	lpass_qua_mi2s_data1_sleep: qua-mi2s-data1-sleep {
		pins = "gpio3";
		function = "qua_mi2s_data";
		drive-strength = <2>;
		bias-pull-down;
		input-enable;
	};

	lpass_qua_mi2s_data2: qua-mi2s-data2-state {
		pins = "gpio4";
		function = "qua_mi2s_data";
		drive-strength = <8>;
		bias-disable;
	};

	lpass_qua_mi2s_data2_sleep: qua-mi2s-data2-sleep {
		pins = "gpio4";
		function = "qua_mi2s_data";
		drive-strength = <2>;
		bias-pull-down;
		input-enable;
	};
};
&msm_stub_codec {
	pinctrl-names = "default", "mi2s_aud_active", "mi2s_aud_sleep";
	pinctrl-0 = <>;
	pinctrl-1 = <>;
	pinctrl-2 = <>;
};

/ {
	sound: sound {
		compatible = "qcom,qcs6490-rubikpi3-sndcard";
		model = "qcs6490-rubikpi3-snd-card";

		#address-cells = <1>;
		#size-cells = <0>;

		pinctrl-names = "default", "stub_aif1_active", "stub_aif1_sleep";
		pinctrl-0 = <&mi2s0_data0_sleep>, <&mi2s0_data1_sleep>, <&mi2s0_mclk>,
					<&mi2s0_sclk_sleep>, <&mi2s0_ws_sleep>,
					<&lpass_qua_mi2s_sclk_sleep>,
					<&lpass_qua_mi2s_ws_sleep>, <&lpass_qua_mi2s_data0_sleep>,
					<&lpass_qua_mi2s_data1_sleep>, <&lpass_qua_mi2s_data2_sleep>;
		pinctrl-1 = <&mi2s0_data0>, <&mi2s0_data1>, <&mi2s0_mclk>,
					<&mi2s0_sclk>, <&mi2s0_ws>, <&lpass_qua_mi2s_sclk>,
					<&lpass_qua_mi2s_ws>, <&lpass_qua_mi2s_data0>,
					<&lpass_qua_mi2s_data1>, <&lpass_qua_mi2s_data2>;
		pinctrl-2 = <&mi2s0_data0_sleep>, <&mi2s0_data1_sleep>, <&mi2s0_mclk>,
					<&mi2s0_sclk_sleep>, <&mi2s0_ws_sleep>,
					<&lpass_qua_mi2s_sclk_sleep>,
					<&lpass_qua_mi2s_ws_sleep>, <&lpass_qua_mi2s_data0_sleep>,
					<&lpass_qua_mi2s_data1_sleep>, <&lpass_qua_mi2s_data2_sleep>;

		mi2s-playback-dai-link {
			link-name = "MI2S-LPAIF-RX-PRIMARY";
			cpu {
				sound-dai = <&q6apmbedai PRIMARY_MI2S_RX>;
			};
			codec {
				sound-dai = <&msm_stub_codec 2>, <&es8316>;
			};
			platform {
				sound-dai = <&q6apm>;
			};
		};

		mi2s-capture-dai-link {
			link-name = "MI2S-LPAIF-TX-PRIMARY";
			cpu {
				sound-dai = <&q6apmbedai PRIMARY_MI2S_TX>;
			};
			codec {
				sound-dai = <&msm_stub_codec 3>, <&es8316>;
			};
			platform {
				sound-dai = <&q6apm>;
			};
		};

		quaternary-mi2s-playback-dai-link {
			link-name = "MI2S-LPAIF_RXTX-RX-PRIMARY";
			cpu {
				sound-dai = <&q6apmbedai QUATERNARY_MI2S_RX>;
			};
			codec {
				sound-dai = <&msm_stub_codec 2>, <&lt9611_codec>;
			};
			platform {
				sound-dai = <&q6apm>;
			};
		};
	};
};

&uart2 {
	status = "okay";
};

&i2c1 {
	status = "okay";
};

&tlmm {
	/delete-property/ gpio-reserved-ranges;
};

&spi12 {
	status = "okay";
	spidev@0 {
		compatible = "silabs,em3581";
		spi-max-frequency = <50000000>;
		reg = <0>;
	};
};
